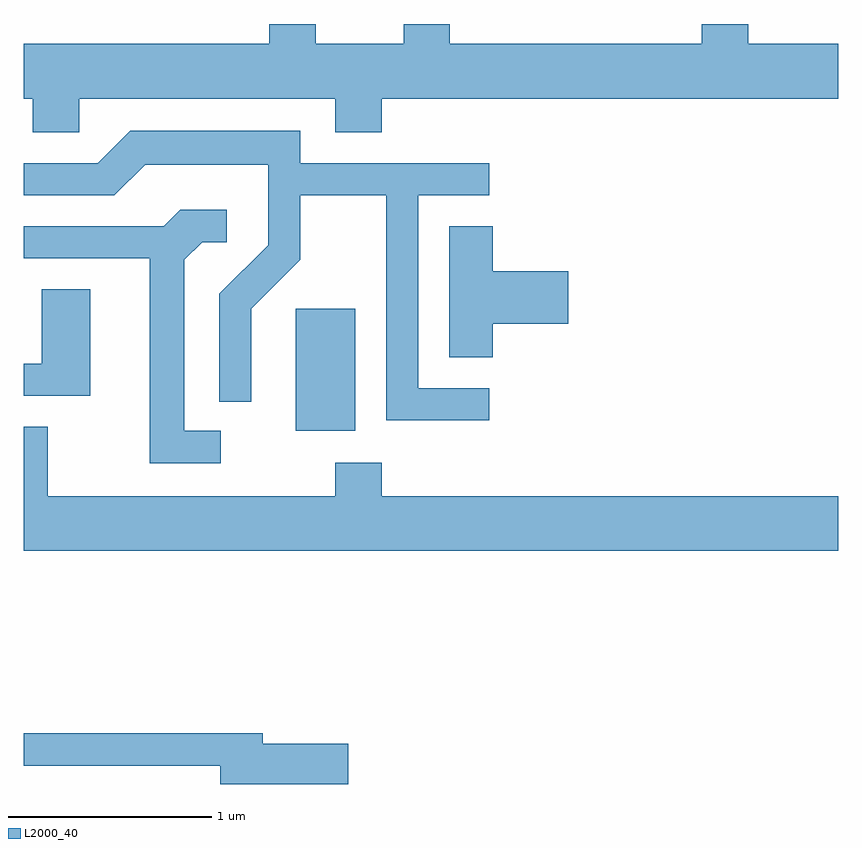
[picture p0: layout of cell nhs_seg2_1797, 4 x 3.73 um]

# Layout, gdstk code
import gdstk
lib = gdstk.Library(unit=1e-6, precision=1e-09)
def R(c, l, rs):  # rectangles x0, y0, x1, y1
    for r in rs: c.add(gdstk.rectangle(r[:2], r[2:], *l))
def P(c, l, *ps):  # polygons
    for p in ps: c.add(gdstk.Polygon(p, *l))
L2000_40 = (2000, 40)

nhs_seg2_1797 = lib.new_cell('nhs_seg2_1797')
R(nhs_seg2_1797, L2000_40, [(238.946,1037.806,239.239,1038.404)])
P(nhs_seg2_1797, L2000_40, [(237.884,1039.436),(239.141,1039.436),(239.141,1039.271),(239.369,1039.271),(239.369,1039.436),(241.611,1039.436),(241.611,1039.704),(241.169,1039.704),(241.169,1039.802),(240.941,1039.802),(240.941,1039.704),(239.704,1039.704),(239.704,1039.802),(239.476,1039.802),(239.476,1039.704),(239.044,1039.704),(239.044,1039.802),(238.816,1039.802),(238.816,1039.704),(237.611,1039.704),(237.611,1039.436),(237.656,1039.436),(237.656,1039.271),(237.884,1039.271)],
  [(239.898,1038.014),(239.549,1038.014),(239.549,1038.961),(239.898,1038.961),(239.898,1039.119),(238.969,1039.119),(238.969,1039.279),(238.134,1039.279),(237.974,1039.119),(237.611,1039.119),(237.611,1038.961),(238.057,1038.961),(238.207,1039.111),(238.811,1039.111),(238.811,1038.717),(238.571,1038.477),(238.571,1037.948),(238.729,1037.948),(238.729,1038.404),(238.969,1038.644),(238.969,1038.961),(239.391,1038.961),(239.391,1037.856),(239.898,1037.856)],
  [(238.578,1037.804),(238.399,1037.804),(238.399,1038.644),(238.487,1038.731),(238.608,1038.731),(238.608,1038.889),(238.379,1038.889),(238.299,1038.809),(237.611,1038.809),(237.611,1038.651),(238.231,1038.651),(238.231,1037.646),(238.578,1037.646)],
  [(239.914,1038.331),(240.284,1038.331),(240.284,1038.589),(239.914,1038.589),(239.914,1038.809),(239.701,1038.809),(239.701,1038.166),(239.914,1038.166)],
  [(237.939,1038.499),(237.701,1038.499),(237.701,1038.134),(237.611,1038.134),(237.611,1037.976),(237.939,1037.976)],
  [(241.611,1037.484),(239.369,1037.484),(239.369,1037.649),(239.141,1037.649),(239.141,1037.484),(237.729,1037.484),(237.729,1037.824),(237.611,1037.824),(237.611,1037.216),(241.611,1037.216)],
  [(239.204,1036.269),(238.784,1036.269),(238.784,1036.319),(237.611,1036.319),(237.611,1036.161),(238.576,1036.161),(238.576,1036.071),(239.204,1036.071)])

lib.write_gds('nhs_seg2_1797.gds')
